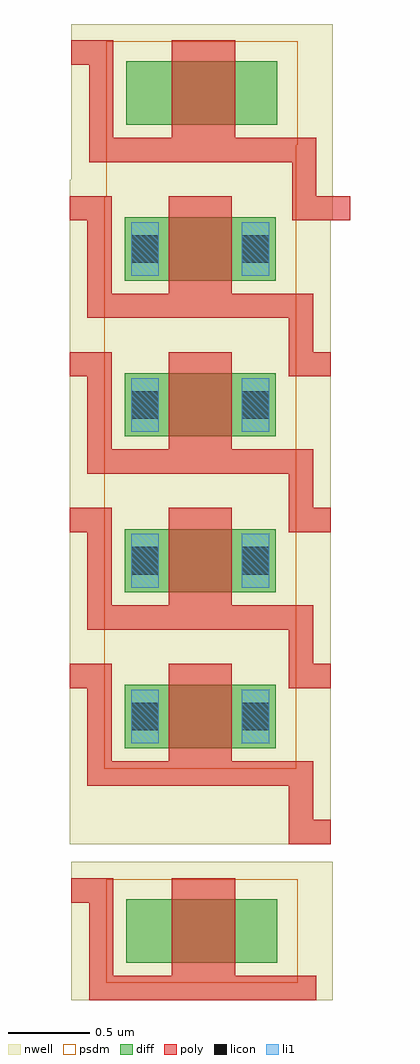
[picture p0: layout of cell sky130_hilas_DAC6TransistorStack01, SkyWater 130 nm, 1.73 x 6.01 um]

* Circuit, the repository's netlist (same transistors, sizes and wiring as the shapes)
* Copyright 2020 The Hilas PDK Authors
* 
* This file is part of HILAS.
* 
* HILAS is free software: you can redistribute it and/or modify
* it under the terms of the GNU Lesser General Public License as published by
* the Free Software Foundation, version 3 of the License.
* 
* HILAS is distributed in the hope that it will be useful,
* but WITHOUT ANY WARRANTY; without even the implied warranty of
* MERCHANTABILITY or FITNESS FOR A PARTICULAR PURPOSE.  See the
* GNU Lesser General Public License for more details.
* 
* You should have received a copy of the GNU Lesser General Public License
* along with HILAS.  If not, see <https://www.gnu.org/licenses/>.
* 
* Licensed under the Lesser General Public License, Version 3.0 (the "License");
* you may not use this file except in compliance with the License.
* You may obtain a copy of the License at
* 
* https://www.gnu.org/licenses/lgpl-3.0.en.html
* 
* Unless required by applicable law or agreed to in writing, software
* distributed under the License is distributed on an "AS IS" BASIS,
* WITHOUT WARRANTIES OR CONDITIONS OF ANY KIND, either express or implied.
* See the License for the specific language governing permissions and
* limitations under the License.
* 
* SPDX-License-Identifier: LGPL-3.0
* 
* 

* NGSPICE file created from sky130_hilas_DAC6TransistorStack01.ext - technology: sky130A

.subckt sky130_hilas_pFETdevice01 SUB w_n158_n156#
X0 a_42_n38# a_n158_36# a_n90_n38# w_n158_n156# sky130_fd_pr__pfet_01v8 w=390000u l=390000u
.ends

.subckt sky130_hilas_pFETdevice01aa SUB w_n160_n156#
X0 a_42_n38# a_n160_36# a_n92_n38# w_n160_n156# sky130_fd_pr__pfet_01v8 w=390000u l=390000u
.ends

.subckt sky130_hilas_pFETdevice01a SUB w_n160_n84#
X0 a_42_n38# a_n160_36# a_n92_n38# w_n160_n84# sky130_fd_pr__pfet_01v8 w=390000u l=390000u
.ends


* Top level circuit sky130_hilas_DAC6TransistorStack01

Xsky130_hilas_pFETdevice01_0 SUB sky130_hilas_pFETdevice01a_0/w_n160_n84# sky130_hilas_pFETdevice01
Xsky130_hilas_pFETdevice01_3 SUB sky130_hilas_pFETdevice01a_0/w_n160_n84# sky130_hilas_pFETdevice01
Xsky130_hilas_pFETdevice01_4 SUB sky130_hilas_pFETdevice01a_0/w_n160_n84# sky130_hilas_pFETdevice01
Xsky130_hilas_pFETdevice01_6 SUB sky130_hilas_pFETdevice01a_0/w_n160_n84# sky130_hilas_pFETdevice01
Xsky130_hilas_pFETdevice01aa_0 SUB sky130_hilas_pFETdevice01a_0/w_n160_n84# sky130_hilas_pFETdevice01aa
Xsky130_hilas_pFETdevice01a_0 SUB sky130_hilas_pFETdevice01a_0/w_n160_n84# sky130_hilas_pFETdevice01a
.end

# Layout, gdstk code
import gdstk
lib = gdstk.Library(unit=1e-6, precision=1e-09)
def R(c, l, rs):  # rectangles x0, y0, x1, y1
    for r in rs: c.add(gdstk.rectangle(r[:2], r[2:], *l))
def A(c, l, x, y, w, h, nx, ny, dx, dy):  # array of equal rectangles
    R(c, l, [(x+i*dx, y+j*dy, x+i*dx+w, y+j*dy+h) for i in range(nx) for j in range(ny)])
nwell = (64, 20)
diff = (65, 20)
poly = (66, 20)
licon = (66, 44)
li1 = (67, 20)
psdm = (94, 20)

sky130_hilas_pfetdevice0 = lib.new_cell('sky130_hilas_pFETdevice01a')
R(sky130_hilas_pfetdevice0, nwell, [(0,0,1.61,0.85)])
R(sky130_hilas_pfetdevice0, diff, [(0.34,0.23,1.27,0.62)])
R(sky130_hilas_pfetdevice0, poly, [(0.11,0,1.51,0.15), (0.11,0.15,0.26,0.6), (0.62,0.15,1.01,0.75), (0,0.6,0.26,0.75)])
R(sky130_hilas_pfetdevice0, psdm, [(0.215,0.105,1.395,0.745)])

c_sky130_hilas_pfetdevice0 = lib.new_cell('sky130_hilas_pFETdevice01aa')
R(c_sky130_hilas_pfetdevice0, nwell, [(0,0,1.61,1.21)])
R(c_sky130_hilas_pfetdevice0, diff, [(0.34,0.59,1.27,0.98)])
R(c_sky130_hilas_pfetdevice0, poly, [(1.36,0,1.72,0.15), (1.36,0.15,1.51,0.36), (0.11,0.36,1.51,0.51), (0.11,0.51,0.26,0.96), (0.62,0.51,1.01,1.11), (0,0.96,0.26,1.11)])
R(c_sky130_hilas_pfetdevice0, psdm, [(0.215,0.465,1.395,1.105)])

c_sky130_hilas_pfetdevice0_ = lib.new_cell('sky130_hilas_pFETdevice01')
R(c_sky130_hilas_pfetdevice0_, nwell, [(0,0,1.61,1.21)])
R(c_sky130_hilas_pfetdevice0_, diff, [(0.34,0.59,1.27,0.98)])
R(c_sky130_hilas_pfetdevice0_, poly, [(1.35,0,1.61,0.15), (1.35,0.15,1.5,0.36), (0.11,0.36,1.5,0.51), (0.11,0.51,0.26,0.96), (0.61,0.51,1,1.11), (0,0.96,0.26,1.11)])
R(c_sky130_hilas_pfetdevice0_, licon, [(0.38,0.7,0.55,0.87), (1.06,0.7,1.23,0.87)])
R(c_sky130_hilas_pfetdevice0_, li1, [(0.38,0.62,0.55,0.95), (1.06,0.62,1.23,0.95)])
R(c_sky130_hilas_pfetdevice0_, psdm, [(0.215,0.465,1.395,1.105)])

sky130_hilas_dac6transis = lib.new_cell('sky130_hilas_DAC6TransistorStack01')
A(sky130_hilas_dac6transis, psdm, 0.395, 2.285, 1.18, 0.32, 1, 3, 0, 0.96)
R(sky130_hilas_dac6transis, psdm, [(0.405,5.165,1.575,5.485)])
sky130_hilas_dac6transis.add(gdstk.Reference(sky130_hilas_pfetdevice0, (0.19,0.22)))
sky130_hilas_dac6transis.add(gdstk.Reference(c_sky130_hilas_pfetdevice0, (0.19,5.02)))
sky130_hilas_dac6transis.add(gdstk.Reference(c_sky130_hilas_pfetdevice0_, (0.18,1.18)))
sky130_hilas_dac6transis.add(gdstk.Reference(c_sky130_hilas_pfetdevice0_, (0.18,2.14)))
sky130_hilas_dac6transis.add(gdstk.Reference(c_sky130_hilas_pfetdevice0_, (0.18,3.1)))
sky130_hilas_dac6transis.add(gdstk.Reference(c_sky130_hilas_pfetdevice0_, (0.18,4.06)))

lib.write_gds('sky130_hilas_DAC6TransistorStack01.gds')
